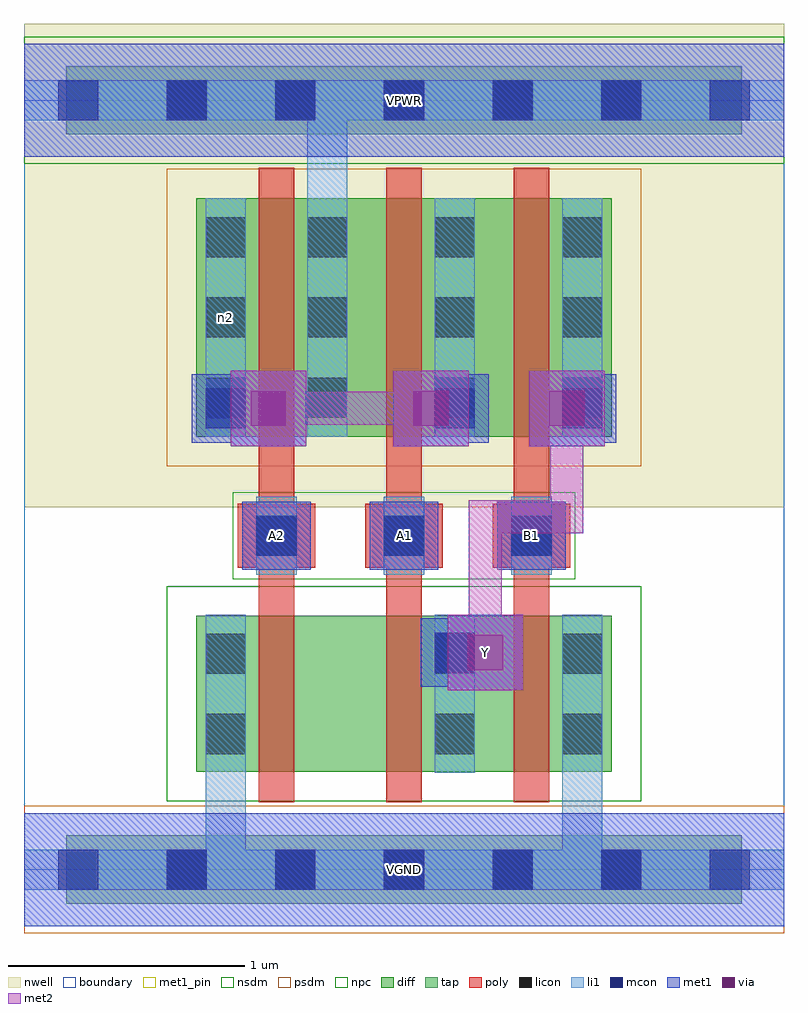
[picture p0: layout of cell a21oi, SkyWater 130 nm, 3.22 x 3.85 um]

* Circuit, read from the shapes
.subckt a21oi A1 A2 B1 VGND VPWR Y n2
XM1 n1 A2 VGND VGND sky130_fd_pr__nfet_01v8 w=0.66 l=0.15
XM2 Y A1 n1 VGND sky130_fd_pr__nfet_01v8 w=0.66 l=0.15
XM3 VGND B1 Y VGND sky130_fd_pr__nfet_01v8 w=0.66 l=0.15
XM4 VPWR A2 n2 VPWR sky130_fd_pr__pfet_01v8 w=1.01 l=0.15
XM5 n2 A1 VPWR VPWR sky130_fd_pr__pfet_01v8 w=1.01 l=0.15
XM6 Y B1 n2 VPWR sky130_fd_pr__pfet_01v8 w=1.01 l=0.15
.ends

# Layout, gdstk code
import gdstk
lib = gdstk.Library(unit=1e-6, precision=1e-09)
def R(c, l, rs):  # rectangles x0, y0, x1, y1
    for r in rs: c.add(gdstk.rectangle(r[:2], r[2:], *l))
def A(c, l, x, y, w, h, nx, ny, dx, dy):  # array of equal rectangles
    R(c, l, [(x+i*dx, y+j*dy, x+i*dx+w, y+j*dy+h) for i in range(nx) for j in range(ny)])
nwell = (64, 20)
diff = (65, 20)
tap = (65, 44)
poly = (66, 20)
licon = (66, 44)
li1 = (67, 20)
mcon = (67, 44)
met1_pin = (68, 16)
met1 = (68, 20)
via = (68, 44)
met2 = (69, 20)
nsdm = (93, 44)
psdm = (94, 20)
npc = (95, 20)
boundary = (235, 4)

a21oi = lib.new_cell('a21oi')
R(a21oi, nwell, [(0,1.535,3.22,3.585)])
R(a21oi, diff, [(0.73,0.415,2.49,1.075), (0.73,1.835,2.49,2.845)])
R(a21oi, tap, [(0.18,-0.145,3.04,0.145), (0.18,3.115,3.04,3.405)])
A(a21oi, poly, 0.995, 0.285, 0.15, 2.69, 3, 1, 0.54, 0)
A(a21oi, poly, 0.905, 1.28, 0.33, 0.27, 3, 1, 0.54, 0)
A(a21oi, licon, 0.605, -0.085, 0.17, 0.17, 5, 2, 0.46, 3.26)
A(a21oi, licon, 0.985, 1.33, 0.17, 0.17, 3, 1, 0.54, 0)
A(a21oi, licon, 0.77, 1.915, 0.17, 0.17, 1, 3, 0, 0.34)
A(a21oi, licon, 1.2, 1.915, 0.17, 0.17, 3, 3, 0.54, 0.34)
R(a21oi, licon, [(0.77,0.49,0.94,0.66), (1.74,0.49,1.91,0.66), (2.28,0.49,2.45,0.66), (0.77,0.83,0.94,1), (1.74,0.83,1.91,1), (2.28,0.83,2.45,1)])
A(a21oi, li1, 0.985, 1.25, 0.17, 0.33, 3, 1, 0.54, 0)
A(a21oi, li1, 1.2, 1.835, 0.17, 1.01, 3, 1, 0.54, 0)
R(a21oi, li1, [(0,-0.085,3.22,0.085), (0.77,-0.085,0.94,1.08), (2.28,-0.085,2.45,1.08), (0.77,0.41,0.94,1.08), (1.74,0.41,1.91,1.08), (2.28,0.41,2.45,1.08), (0.77,1.835,0.94,2.845), (1.2,1.835,1.37,3.345), (0,3.175,3.22,3.345)])
A(a21oi, mcon, 0.145, -0.085, 0.17, 0.17, 7, 2, 0.46, 3.26)
A(a21oi, mcon, 0.985, 1.33, 0.17, 0.17, 3, 1, 0.54, 0)
R(a21oi, mcon, [(1.74,0.835,1.91,1.005), (0.77,1.87,0.94,2.04), (1.74,1.87,1.91,2.04), (2.28,1.87,2.45,2.04)])
A(a21oi, met1_pin, 0.925, 1.27, 0.29, 0.29, 3, 1, 0.54, 0)
R(a21oi, met1_pin, [(0,-0.24,3.22,0.24), (1.795,0.76,2.115,1.08), (0,3.02,3.22,3.5)])
A(a21oi, met1, 0.925, 1.27, 0.29, 0.29, 3, 1, 0.54, 0)
R(a21oi, met1, [(0,-0.24,3.22,0.24), (1.795,0.76,2.115,1.08), (1.68,0.775,1.97,1.065), (1.755,0.85,2.025,0.99), (0.875,1.795,1.195,2.115), (1.565,1.795,1.885,2.115), (2.14,1.795,2.46,2.115), (0.71,1.81,1,2.1), (1.68,1.81,1.97,2.1), (2.22,1.81,2.51,2.1), (0.785,1.885,1.105,2.025), (1.655,1.885,1.895,2.025), (2.23,1.885,2.435,2.025), (0,3.02,3.22,3.5)])
R(a21oi, via, [(1.88,0.845,2.03,0.995), (0.96,1.88,1.11,2.03), (1.65,1.88,1.8,2.03), (2.225,1.88,2.375,2.03)])
R(a21oi, met2, [(1.795,0.76,2.115,1.08), (1.885,0.85,2.025,1.565), (1.885,1.425,2.37,1.565), (2.23,1.425,2.37,2.025), (0.875,1.795,1.195,2.115), (1.565,1.795,1.885,2.115), (2.14,1.795,2.46,2.115), (0.965,1.885,1.795,2.025)])
R(a21oi, nsdm, [(0.605,0.29,2.615,1.2), (0,2.99,3.22,3.53)])
R(a21oi, psdm, [(0,-0.27,3.22,0.27), (0.605,1.71,2.615,2.97)])
R(a21oi, npc, [(0.885,1.23,2.335,1.6)])
R(a21oi, boundary, [(0,0,3.22,3.26)])
a21oi.add(gdstk.Label('n2', (0.855,2.34), layer=67, texttype=5))
a21oi.add(gdstk.Label('A1', (1.61,1.415), layer=68, texttype=5))
a21oi.add(gdstk.Label('A2', (1.07,1.415), layer=68, texttype=5))
a21oi.add(gdstk.Label('B1', (2.15,1.415), layer=68, texttype=5))
a21oi.add(gdstk.Label('Y', (1.955,0.92), layer=68, texttype=5))
a21oi.add(gdstk.Label('VPWR', (1.61,3.26), layer=68, texttype=5))
a21oi.add(gdstk.Label('VGND', (1.61,0), layer=68, texttype=5))
a21oi.add(gdstk.Label('A1', (1.61,1.415), layer=68, texttype=16))
a21oi.add(gdstk.Label('A2', (1.07,1.415), layer=68, texttype=16))
a21oi.add(gdstk.Label('B1', (2.15,1.415), layer=68, texttype=16))
a21oi.add(gdstk.Label('Y', (1.955,0.92), layer=68, texttype=16))
a21oi.add(gdstk.Label('VPWR', (1.61,3.26), layer=68, texttype=16))
a21oi.add(gdstk.Label('VGND', (1.61,0), layer=68, texttype=16))

lib.write_gds('a21oi.gds')
